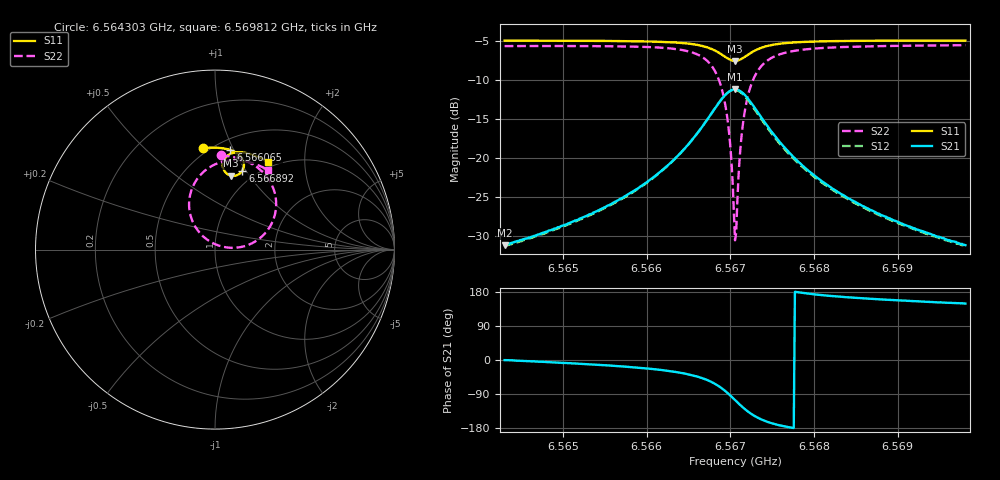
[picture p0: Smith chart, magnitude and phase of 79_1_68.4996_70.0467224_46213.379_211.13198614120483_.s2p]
#  HZ  S  RI  R  50.00
! Rohde & Schwarz Vector Network Analyzer
! Rohde-Schwarz,ZNB20-2Port,1311601062101988,3.16
! Created: UTC 3/20/2024, 5:07:13 PM
! freq[Hz]  re:S11  im:S11  re:S21  im:S21  re:S12  im:S12  re:S22  im:S22
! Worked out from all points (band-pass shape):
!   401 points, 6.564303 GHz to 6.569812 GHz, reference 50 ohm
!   highest |S21| = -11.16 dB at 6.567057 GHz (marker M1); lowest = -31.2 dB at 6.564303 GHz (marker M2)
!   |S21| within 3 dB of the highest: 6.566782 GHz to 6.567333 GHz (551.2 kHz wide, 0.00839 % of centre)
!   lowest |S11| = -7.5 dB at 6.567057 GHz (marker M3), VSWR 2.46, Z = 41.1 + j41.3 ohm
!   |S11| at or under -10 dB: nowhere
!   |S22| runs from -30.6 to -5.5 dB; largest |S21 - S12| = 0.013
!   S11 on the Smith chart (normalised r, x): 6.564303 GHz: 0.46, +0.78; 6.566065 GHz: 0.60, +0.97; 6.566892 GHz: 0.86, +0.97; 6.569812 GHz: 0.92, +1.33
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6.5643025e9  -0.067 0.5651  0.0275 -0.00013  0.0271 -0.000637  0.0325 0.5243
6.5652253e9  0.00837 0.5678  0.0406 -0.00737  0.0399 -0.00787  0.1191 0.5117
6.5660654e9  0.0861 0.5551  0.0679 -0.0299  0.0669 -0.0306  0.2265 0.4645
6.5661481e9  0.0948 0.552  0.0724 -0.0346  0.0713 -0.0356  0.2403 0.4541
6.5664511e9  0.1294 0.5328  0.0933 -0.0666  0.0916 -0.068  0.2989 0.3914
6.5666714e9  0.1546 0.5021  0.1069 -0.1203  0.1043 -0.1225  0.3384 0.2881
6.5667954e9  0.1614 0.4713  0.0996 -0.1741  0.0954 -0.1773  0.3313 0.1853
6.5668918e9  0.1527 0.4402  0.0675 -0.2273  0.0601 -0.2302  0.2741 0.0856
6.5669744e9  0.1277 0.4171  0.00773 -0.2648  -0.00279 -0.2647  0.1648 0.0191
6.567002e9  0.1157 0.4126  -0.0184 -0.2706  -0.0299 -0.2688  0.1174 0.0106
6.5670433e9  0.096 0.4113  -0.0605 -0.2696  -0.072 -0.2649  0.0428 0.0161
6.5670571e9  0.0893 0.4123  -0.0744 -0.2664  -0.0856 -0.2606  0.0185 0.0231
6.5670708e9  0.0828 0.414  -0.088 -0.2619  -0.0989 -0.2552  -0.00488 0.0326
6.5670846e9  0.0767 0.4166  -0.101 -0.2561  -0.1113 -0.2486  -0.0271 0.0445
6.5671259e9  0.0607 0.4277  -0.1348 -0.2321  -0.1429 -0.2223  -0.0829 0.0905
6.5671672e9  0.0498 0.4427  -0.1589 -0.2019  -0.1644 -0.1911  -0.1204 0.1467
6.5672223e9  0.0432 0.464  -0.1757 -0.1595  -0.1781 -0.1489  -0.1428 0.2229
6.5672912e9  0.0453 0.4882  -0.1786 -0.1127  -0.1779 -0.1035  -0.1388 0.3047
6.5675391e9  0.0837 0.5322  -0.1353 -0.0249  -0.1323 -0.0209  -0.0411 0.4514
6.5679798e9  0.1445 0.5423  -0.0789 0.00843  -0.077 0.00972  0.0884 0.4973
6.5689026e9  0.2296 0.5209  -0.0383 0.0148  -0.0373 0.0152  0.2182 0.4787
6.5698116e9  0.2962 0.4879  -0.0236 0.0143  -0.0232 0.0143  0.2966 0.442
